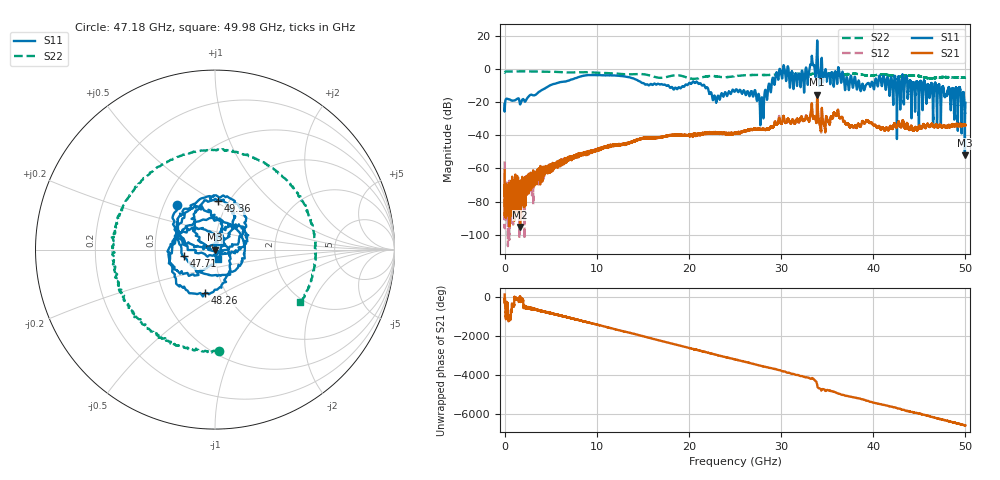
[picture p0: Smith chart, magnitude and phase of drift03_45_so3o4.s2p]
!Created with skrf (http://scikit-rf.org).
# Hz S RI R 50.0
!freq ReS11 ImS11 ReS21 ImS21 ReS12 ImS12 ReS22 ImS22
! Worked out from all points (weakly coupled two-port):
!   10001 points, 300 kHz to 50 GHz, reference 50 ohm
!   highest |S21| = -15.45 dB at 33.92 GHz (marker M1); lowest = -95.3 dB at 1.69 GHz (marker M2)
!   lowest |S11| = -52.0 dB at 49.95 GHz (marker M3), VSWR 1.01, Z = 49.8 - j0.119 ohm
!   |S11| at or under -10 dB: start of sweep to 4.851 GHz; 21.69 GHz to 28.62 GHz (6.933 GHz wide, 27.6 % of centre); 47.19 GHz to end of sweep (the widest 3 of 42)
!   |S22| runs from -5.9 to -1.3 dB; largest |S21 - S12| = 0.019
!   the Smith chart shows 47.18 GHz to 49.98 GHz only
!   S11 on the Smith chart (normalised r, x): 47.18 GHz: 0.58, +0.33; 47.71 GHz: 0.70, -0.05; 48.26 GHz: 0.80, -0.41; 49.36 GHz: 0.89, +0.52; 49.98 GHz: 1.03, -0.11
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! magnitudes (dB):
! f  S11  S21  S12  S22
! 300 kHz  -21.1  -61.1  -55.7  -2.1
! 260.3 MHz  -17.8  -78.3  -75.0  -1.4
! 1.69 GHz  -21.3  -95.3  -73.0  -1.4
! 8.335 GHz  -4.3  -51.9  -51.1  -1.9
! 16.67 GHz  -8.8  -41.2  -41.4  -5.2
! 21.01 GHz  -8.7  -39.1  -39.2  -5.6
! 22.81 GHz  -16.1  -38.3  -38.7  -4.2
! 25 GHz  -13.4  -38.5  -38.6  -4.3
! 27.92 GHz  -17.1  -36.6  -36.2  -3.5
! 29.69 GHz  -6.4  -32.0  -31.7  -3.1
! 32.32 GHz  -1.5  -30.4  -30.6  -3.3
! 33.34 GHz  8.0  -20.7  -20.8  -2.9
! 33.92 GHz  17.3  -15.5  -15.9  -2.5
! 38.82 GHz  -9.0  -31.4  -31.9  -3.4
! 41.67 GHz  -9.0  -36.9  -36.6  -3.7
! 47.18 GHz  -9.7  -34.4  -34.2  -5.0
! 47.71 GHz  -14.9  -34.2  -34.2  -4.8
! 48.26 GHz  -12.1  -34.1  -34.4  -5.0
! 49.36 GHz  -11.3  -34.7  -34.3  -5.1
! 49.95 GHz  -52.0  -33.9  -33.9  -5.0
! 49.98 GHz  -25.0  -33.8  -34.2  -5.0
! 50 GHz  -20.4  -33.7  -34.2  -4.9
